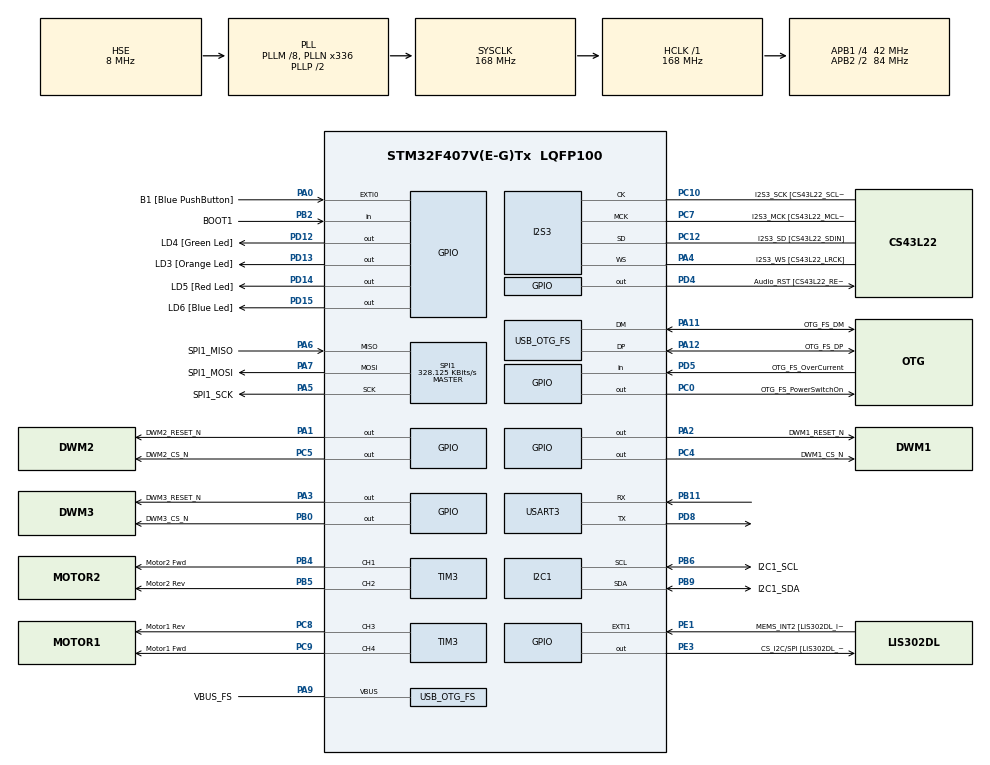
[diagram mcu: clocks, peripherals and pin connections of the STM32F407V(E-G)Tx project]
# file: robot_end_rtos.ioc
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FREERTOS.Tasks01=defaultTask,24,128,StartDefaultTask,Default,NULL,Dynamic,NULL,NULL
FREERTOS.configUSE_NEWLIB_REENTRANT=1
I2S3.AudioFreq-Half_Duplex_Master=I2S_AUDIOFREQ_96K
I2S3.ErrorAudioFreq=-2.34 %
I2S3.ErrorAudioFreq-Half_Duplex_Master=0.8 %
I2S3.FullDuplexMode=I2S_FULLDUPLEXMODE_DISABLE
I2S3.Instance=SPI$Index
I2S3.RealAudioFreq=93.75 KHz
I2S3.RealAudioFreq-Half_Duplex_Master=96.774 KHz
I2S3.VirtualMode=I2S_MODE_MASTER
Mcu.Family=STM32F4
Mcu.Name=STM32F407V(E-G)Tx
Mcu.Package=LQFP100
NVIC.OTG_FS_IRQn=true\:5\:0\:false\:false\:true\:true\:true\:true\:true
NVIC.PriorityGroup=NVIC_PRIORITYGROUP_4
NVIC.TIM1_UP_TIM10_IRQn=true\:15\:0\:false\:false\:true\:false\:false\:true\:true
NVIC.TimeBase=TIM1_UP_TIM10_IRQn
NVIC.TimeBaseIP=TIM1
PA0-WKUP.GPIO_Label=B1 [Blue PushButton]
PA0-WKUP.GPIO_ModeDefaultEXTI=GPIO_MODE_EVT_RISING
PA0-WKUP.GPIO_PuPd=GPIO_NOPULL
PA0-WKUP.Signal=GPXTI0
PA1.GPIO_Label=DWM2_RESET_N
PA1.GPIO_ModeDefaultOutputPP=GPIO_MODE_OUTPUT_OD
PA1.GPIO_PuPd=GPIO_PULLUP
PA1.Signal=GPIO_Output
PA10.GPIO_Label=OTG_FS_ID
PA10.GPIO_Mode=GPIO_MODE_AF_PP
PA10.GPIO_PuPd=GPIO_NOPULL
PA10.GPIO_Speed=GPIO_SPEED_FREQ_LOW
PA10.Signal=USB_OTG_FS_ID
PA11.GPIO_Label=OTG_FS_DM
PA11.GPIO_Mode=GPIO_MODE_AF_PP
PA11.GPIO_PuPd=GPIO_NOPULL
PA11.GPIO_Speed=GPIO_SPEED_FREQ_LOW
PA11.Mode=Host_Only
PA11.Signal=USB_OTG_FS_DM
PA12.GPIO_Label=OTG_FS_DP
PA12.GPIO_Mode=GPIO_MODE_AF_PP
PA12.GPIO_PuPd=GPIO_NOPULL
PA12.GPIO_Speed=GPIO_SPEED_FREQ_LOW
PA12.Mode=Host_Only
PA12.Signal=USB_OTG_FS_DP
PA13.GPIO_Label=SWDIO
PA13.Mode=Serial_Wire
PA13.Signal=SYS_JTMS-SWDIO
PA14.GPIO_Label=SWCLK
PA14.Mode=Serial_Wire
PA14.Signal=SYS_JTCK-SWCLK
PA2.GPIO_Label=DWM1_RESET_N
PA2.GPIO_ModeDefaultOutputPP=GPIO_MODE_OUTPUT_OD
PA2.GPIO_PuPd=GPIO_PULLUP
PA2.Signal=GPIO_Output
PA3.GPIO_Label=DWM3_RESET_N
PA3.GPIO_ModeDefaultOutputPP=GPIO_MODE_OUTPUT_OD
PA3.GPIO_PuPd=GPIO_PULLUP
PA3.Signal=GPIO_Output
PA4.GPIO_Label=I2S3_WS [CS43L22_LRCK]
PA4.GPIO_Mode=GPIO_MODE_AF_PP
PA4.GPIO_PuPd=GPIO_NOPULL
PA4.GPIO_Speed=GPIO_SPEED_FREQ_LOW
PA4.Mode=Half_Duplex_Master
PA4.Signal=I2S3_WS
PA5.GPIO_Label=SPI1_SCK
PA5.GPIO_Mode=GPIO_MODE_AF_PP
PA5.GPIO_PuPd=GPIO_NOPULL
PA5.GPIO_Speed=GPIO_SPEED_FREQ_VERY_HIGH
PA5.Mode=Full_Duplex_Master
PA5.Signal=SPI1_SCK
PA6.GPIO_Label=SPI1_MISO
PA6.GPIO_Mode=GPIO_MODE_AF_PP
PA6.GPIO_PuPd=GPIO_NOPULL
PA6.GPIO_Speed=GPIO_SPEED_FREQ_VERY_HIGH
PA6.Mode=Full_Duplex_Master
PA6.Signal=SPI1_MISO
PA7.GPIO_Label=SPI1_MOSI
PA7.GPIO_Mode=GPIO_MODE_AF_PP
PA7.GPIO_PuPd=GPIO_NOPULL
PA7.GPIO_Speed=GPIO_SPEED_FREQ_VERY_HIGH
PA7.Mode=Full_Duplex_Master
PA7.Signal=SPI1_MOSI
PA9.GPIO_Label=VBUS_FS
PA9.GPIO_Mode=GPIO_MODE_INPUT
PA9.GPIO_PuPd=GPIO_NOPULL
PA9.Mode=Activate_VBUS
PA9.Signal=USB_OTG_FS_VBUS
PB0.GPIO_Label=DWM3_CS_N
PB0.PinState=GPIO_PIN_SET
PB0.Signal=GPIO_Output
PB10.GPIO_Label=CLK_IN [MP45DT02_CLK]
PB10.GPIO_Mode=GPIO_MODE_AF_PP
PB10.GPIO_PuPd=GPIO_NOPULL
PB10.GPIO_Speed=GPIO_SPEED_FREQ_LOW
PB10.Signal=I2S2_CK
PB11.Mode=Asynchronous
PB11.Signal=USART3_RX
PB2.GPIO_Label=BOOT1
PB2.GPIO_Mode=GPIO_MODE_INPUT
PB2.GPIO_PuPd=GPIO_NOPULL
PB2.Signal=GPIO_Input
PB3.GPIO_Label=SWO
PB3.Signal=SYS_JTDO-SWO
PB4.GPIO_Label=Motor2 Fwd
PB4.Signal=S_TIM3_CH1
PB5.GPIO_Label=Motor2 Rev
PB5.Signal=S_TIM3_CH2
PB6.GPIO_Label=I2C1_SCL
PB6.GPIO_Mode=GPIO_MODE_AF_OD
PB6.GPIO_Pu=GPIO_PULLUP
PB6.GPIO_PuPd=GPIO_NOPULL
PB6.GPIO_Speed=GPIO_SPEED_FREQ_LOW
PB6.Mode=I2C
PB6.Signal=I2C1_SCL
PB9.GPIO_Label=I2C1_SDA
PB9.GPIO_Mode=GPIO_MODE_AF_OD
PB9.GPIO_Pu=GPIO_PULLUP
PB9.GPIO_PuPd=GPIO_NOPULL
PB9.GPIO_Speed=GPIO_SPEED_FREQ_LOW
PB9.Mode=I2C
PB9.Signal=I2C1_SDA
PC0.GPIO_Label=OTG_FS_PowerSwitchOn
PC0.GPIO_PuPd=GPIO_NOPULL
PC0.GPIO_Speed=GPIO_SPEED_FREQ_LOW
PC0.PinState=GPIO_PIN_SET
PC0.Signal=GPIO_Output
PC10.GPIO_Label=I2S3_SCK [CS43L22_SCLK]
PC10.GPIO_Mode=GPIO_MODE_AF_PP
PC10.GPIO_PuPd=GPIO_NOPULL
PC10.GPIO_Speed=GPIO_SPEED_FREQ_LOW
PC10.Mode=Half_Duplex_Master
PC10.Signal=I2S3_CK
PC12.GPIO_Label=I2S3_SD [CS43L22_SDIN]
PC12.GPIO_Mode=GPIO_MODE_AF_PP
PC12.GPIO_PuPd=GPIO_NOPULL
PC12.GPIO_Speed=GPIO_SPEED_FREQ_LOW
PC12.Mode=Half_Duplex_Master
PC12.Signal=I2S3_SD
PC14-OSC32_IN.GPIO_Label=PC14-OSC32_IN
PC14-OSC32_IN.Mode=LSE-External-Oscillator
PC14-OSC32_IN.Signal=RCC_OSC32_IN
PC15-OSC32_OUT.GPIO_Label=PC15-OSC32_OUT
PC15-OSC32_OUT.Mode=LSE-External-Oscillator
PC15-OSC32_OUT.Signal=RCC_OSC32_OUT
PC3.GPIO_Label=PDM_OUT [MP45DT02_DOUT]
PC3.GPIO_Mode=GPIO_MODE_AF_PP
PC3.GPIO_PuPd=GPIO_NOPULL
PC3.GPIO_Speed=GPIO_SPEED_FREQ_LOW
PC3.Signal=I2S2_SD
PC4.GPIO_Label=DWM1_CS_N
PC4.PinState=GPIO_PIN_SET
PC4.Signal=GPIO_Output
PC5.GPIO_Label=DWM2_CS_N
PC5.PinState=GPIO_PIN_SET
PC5.Signal=GPIO_Output
PC7.GPIO_Label=I2S3_MCK [CS43L22_MCLK]
PC7.GPIO_Mode=GPIO_MODE_AF_PP
PC7.GPIO_PuPd=GPIO_NOPULL
PC7.GPIO_Speed=GPIO_SPEED_FREQ_LOW
PC7.Mode=Master_Clock_Activated
PC7.Signal=I2S3_MCK
PC8.GPIO_Label=Motor1 Rev
PC8.Signal=S_TIM3_CH3
PC9.GPIO_Label=Motor1 Fwd
PC9.Signal=S_TIM3_CH4
PD12.GPIO_Label=LD4 [Green Led]
PD12.GPIO_PuPd=GPIO_NOPULL
PD12.GPIO_Speed=GPIO_SPEED_FREQ_LOW
PD12.Signal=GPIO_Output
PD13.GPIO_Label=LD3 [Orange Led]
PD13.GPIO_PuPd=GPIO_NOPULL
PD13.GPIO_Speed=GPIO_SPEED_FREQ_LOW
PD13.Signal=GPIO_Output
PD14.GPIO_Label=LD5 [Red Led]
PD14.GPIO_PuPd=GPIO_NOPULL
PD14.GPIO_Speed=GPIO_SPEED_FREQ_LOW
PD14.Signal=GPIO_Output
PD15.GPIO_Label=LD6 [Blue Led]
PD15.GPIO_PuPd=GPIO_NOPULL
PD15.GPIO_Speed=GPIO_SPEED_FREQ_LOW
PD15.Signal=GPIO_Output
PD4.GPIO_Label=Audio_RST [CS43L22_RESET]
PD4.GPIO_PuPd=GPIO_NOPULL
PD4.GPIO_Speed=GPIO_SPEED_FREQ_LOW
PD4.Signal=GPIO_Output
PD5.GPIO_Label=OTG_FS_OverCurrent
PD5.GPIO_Mode=GPIO_MODE_INPUT
PD5.GPIO_PuPd=GPIO_NOPULL
PD5.Signal=GPIO_Input
PD8.Mode=Asynchronous
PD8.Signal=USART3_TX
PE1.GPIO_Label=MEMS_INT2 [LIS302DL_INT2]
PE1.GPIO_ModeDefaultEXTI=GPIO_MODE_EVT_RISING
PE1.GPIO_PuPd=GPIO_NOPULL
PE1.Signal=GPXTI1
PE3.GPIO_Label=CS_I2C/SPI [LIS302DL_CS_I2C/SPI]
PE3.GPIO_PuPd=GPIO_NOPULL
PE3.GPIO_Speed=GPIO_SPEED_FREQ_LOW
PE3.Signal=GPIO_Output
PH0-OSC_IN.GPIO_Label=PH0-OSC_IN
PH0-OSC_IN.Mode=HSE-External-Oscillator
PH0-OSC_IN.Signal=RCC_OSC_IN
PH1-OSC_OUT.GPIO_Label=PH1-OSC_OUT
PH1-OSC_OUT.Mode=HSE-External-Oscillator
PH1-OSC_OUT.Signal=RCC_OSC_OUT
ProjectManager.HeapSize=0x200
ProjectManager.StackSize=0x400
ProjectManager.TargetToolchain=STM32CubeIDE
RCC.48MHZClocksFreq_Value=48000000
RCC.AHBFreq_Value=168000000
RCC.APB1CLKDivider=RCC_HCLK_DIV4
RCC.APB1Freq_Value=42000000
RCC.APB1TimFreq_Value=84000000
RCC.APB2CLKDivider=RCC_HCLK_DIV2
RCC.APB2Freq_Value=84000000
RCC.APB2TimFreq_Value=168000000
RCC.CortexFreq_Value=168000000
RCC.HCLKFreq_Value=168000000
RCC.HSE_VALUE=8000000
RCC.HSI_VALUE=16000000
RCC.PLLM=8
RCC.PLLN=336
RCC.PLLQ=7
RCC.SYSCLKFreq_VALUE=168000000
RCC.SYSCLKSource=RCC_SYSCLKSOURCE_PLLCLK
RCC.VCOOutputFreq_Value=336000000
SH.S_TIM3_CH1.0=TIM3_CH1,PWM Generation1 CH1
SH.S_TIM3_CH2.0=TIM3_CH2,PWM Generation2 CH2
SH.S_TIM3_CH3.0=TIM3_CH3,PWM Generation3 CH3
SH.S_TIM3_CH4.0=TIM3_CH4,PWM Generation4 CH4
SPI1.BaudRatePrescaler=SPI_BAUDRATEPRESCALER_256
SPI1.BaudRatePrescaler-Full_Duplex_Master=SPI_BAUDRATEPRESCALER_2
SPI1.CalculateBaudRate=328.125 KBits/s
SPI1.CalculateBaudRate-Full_Duplex_Master=42.0 MBits/s
SPI1.Direction=SPI_DIRECTION_2LINES
SPI1.Mode=SPI_MODE_MASTER
SPI1.Mode-Full_Duplex_Master=SPI_MODE_MASTER
SPI1.VirtualType=VM_MASTER
TIM3.Channel-PWM\ Generation1\ CH1=TIM_CHANNEL_1
TIM3.Channel-PWM\ Generation2\ CH2=TIM_CHANNEL_2
TIM3.Channel-PWM\ Generation3\ CH3=TIM_CHANNEL_3
TIM3.Channel-PWM\ Generation4\ CH4=TIM_CHANNEL_4
USART3.VirtualMode=VM_ASYNC
USB_HOST.BSP.number=1
USB_HOST.USBH_HandleTypeDef-CDC_FS=hUsbHostFS
USB_HOST.VirtualModeFS=Cdc
USB_HOST0.BSP.STBoard=false
USB_HOST0.BSP.api=Unknown
USB_HOST0.BSP.instance=PC0
USB_HOST0.BSP.ip=GPIO
USB_HOST0.BSP.mode=Output
USB_HOST0.BSP.name=Drive_VBUS_FS
USB_HOST0.BSP.solution=PC0
USB_OTG_FS.VirtualMode=Host_Only
USB_OTG_FS.phy_itface=HCD_PHY_EMBEDDED
VP_FREERTOS_VS_CMSIS_V2.Mode=CMSIS_V2
VP_SYS_VS_tim1.Mode=TIM1
VP_USB_HOST_VS_USB_HOST_CDC_FS.Mode=CDC_FS
board=STM32F407G-DISC1

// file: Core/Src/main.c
/* USER CODE BEGIN Header */
/**
  ******************************************************************************
  * @file           : main.c
  * @brief          : Main program body
  ******************************************************************************
  * @attention
  *
  * Copyright (c) 2026 STMicroelectronics.
  * All rights reserved.
  *
  * This software is licensed under terms that can be found in the LICENSE file
  * in the root directory of this software component.
  * If no LICENSE file comes with this software, it is provided AS-IS.
  *
  ******************************************************************************
  */
/* USER CODE END Header */
#include "main.h"
#include "cmsis_os.h"
#include "usb_host.h"

/* USER CODE BEGIN Includes */
#include "dwm1000.h"
#include "VL53L1X_api.h"
#include "VL53l1X_calibration.h"

/* USER CODE END Includes */

I2C_HandleTypeDef hi2c1;

I2S_HandleTypeDef hi2s3;

SPI_HandleTypeDef hspi1;

TIM_HandleTypeDef htim3;

UART_HandleTypeDef huart3;

/* Definitions for defaultTask */
osThreadId_t defaultTaskHandle;
const osThreadAttr_t defaultTask_attributes = {
  .name = "defaultTask",
  .stack_size = 128 * 4,
  .priority = (osPriority_t) osPriorityNormal,
};
/* USER CODE BEGIN PV */
osThreadId_t tofTaskHandle;
const osThreadAttr_t tofTask_attributes = {
  .name = "tofTask",
  .stack_size = 128 * 4,
  .priority = (osPriority_t) 5,
};

int test_counter = 0;
uint8_t device_id[4] = {0};
uint8_t device_id_low[2] = {0};
int txfrs_error_count = 0;
uint8_t sys_event_status_reg[5] = {0};
uint64_t poll_ts = 0;

uint8_t rx_buffer[4] = {0};
uint8_t payload[4] = {0x1,0x2,0xCC,0xDD};

uint64_t uwb_dist_cm = 0;
uint64_t t_prop = 0;

// TOF Sensor
uint16_t dev = 0x52;   // I2C address (try 0x29 if this fails)
uint8_t sensorState = 0;
uint8_t dataReady = 0;
uint16_t distance = 0;
uint8_t rangeStatus = 0;
int status = 0;
uint64_t dwm_distance = 0;

/* USER CODE END PV */

void SystemClock_Config(void);
static void MX_GPIO_Init(void);
static void MX_I2C1_Init(void);
static void MX_I2S3_Init(void);
static void MX_SPI1_Init(void);
static void MX_USART3_UART_Init(void);
static void MX_TIM3_Init(void);
void StartDefaultTask(void *argument);

/* USER CODE BEGIN PFP */
void TimeOfFlighMeausure(void *argument);

/* USER CODE END PFP */

/* USER CODE BEGIN 0 */

// DWM_MODULE_STRUCTURES
DWM_Module dwm1 = {
    .cs_port = DWM1_CS_N_GPIO_Port,
    .cs_pin  = DWM1_CS_N_Pin,
    .reset_port = DWM1_RESET_N_GPIO_Port,
    .reset_pin  = DWM1_RESET_N_Pin
};

DWM_Module dwm2 = {
    .cs_port = DWM2_CS_N_GPIO_Port,
    .cs_pin  = DWM2_CS_N_Pin,
    .reset_port = DWM2_RESET_N_GPIO_Port,
    .reset_pin  = DWM2_RESET_N_Pin
};

DWM_Module dwm3 = {
    .cs_port = DWM3_CS_N_GPIO_Port,
    .cs_pin  = DWM3_CS_N_Pin,
    .reset_port = DWM3_RESET_N_GPIO_Port,
    .reset_pin  = DWM3_RESET_N_Pin
};

/* USER CODE END 0 */

int main(void)
{

  /* MCU Configuration--------------------------------------------------------*/

  /* Reset of all peripherals, Initializes the Flash interface and the Systick. */
  HAL_Init();

  /* Configure the system clock */
  SystemClock_Config();

  /* Initialize all configured peripherals */
  MX_GPIO_Init();
  MX_I2C1_Init();
  MX_I2S3_Init();
  MX_SPI1_Init();
  MX_USART3_UART_Init();
  MX_TIM3_Init();
  /* USER CODE BEGIN 2 */

  //TOF BEGIN
  // Wait for sensor boot
// while (sensorState == 0)
//  {
//      status = VL53L1X_BootState(dev, &sensorState);
//      HAL_Delay(2);
//  }
//
//  // Initialize sensor
//  status = VL53L1X_SensorInit(dev);
//
//  // Configure ranging
//  status = VL53L1X_SetDistanceMode(dev, 1);      // 1=short, 2=long
//  status = VL53L1X_SetTimingBudgetInMs(dev, 100);
//  status = VL53L1X_SetInterMeasurementInMs(dev, 100);
//
//  status = VL53L1X_StartRanging(dev);

  //TOF END

  /* USER CODE END 2 */

  /* Init scheduler */
  osKernelInitialize();

  /* Create the thread(s) */
  /* creation of defaultTask */
  defaultTaskHandle = osThreadNew(StartDefaultTask, NULL, &defaultTask_attributes);

  /* USER CODE BEGIN RTOS_THREADS */
  /* add threads, ... */
//  tofTaskHandle = osThreadNew(TimeOfFlighMeausure, NULL, &tofTask_attributes);
  /* USER CODE END RTOS_THREADS */

  /* Start scheduler */
  osKernelStart();

  /* We should never get here as control is now taken by the scheduler */

  /* Infinite loop */
  while (1)
  {

  }
}

void SystemClock_Config(void)
{
  RCC_OscInitTypeDef RCC_OscInitStruct = {0};
  RCC_ClkInitTypeDef RCC_ClkInitStruct = {0};

  /** Configure the main internal regulator output voltage
  */
  __HAL_RCC_PWR_CLK_ENABLE();
  __HAL_PWR_VOLTAGESCALING_CONFIG(PWR_REGULATOR_VOLTAGE_SCALE1);

  /** Initializes the RCC Oscillators according to the specified parameters
  * in the RCC_OscInitTypeDef structure.
  */
  RCC_OscInitStruct.OscillatorType = RCC_OSCILLATORTYPE_HSE;
  RCC_OscInitStruct.HSEState = RCC_HSE_ON;
  RCC_OscInitStruct.PLL.PLLState = RCC_PLL_ON;
  RCC_OscInitStruct.PLL.PLLSource = RCC_PLLSOURCE_HSE;
  RCC_OscInitStruct.PLL.PLLM = 8;
  RCC_OscInitStruct.PLL.PLLN = 336;
  RCC_OscInitStruct.PLL.PLLP = RCC_PLLP_DIV2;
  RCC_OscInitStruct.PLL.PLLQ = 7;
  if (HAL_RCC_OscConfig(&RCC_OscInitStruct) != HAL_OK)
  {
    Error_Handler();
  }

  /** Initializes the CPU, AHB and APB buses clocks
  */
  RCC_ClkInitStruct.ClockType = RCC_CLOCKTYPE_HCLK|RCC_CLOCKTYPE_SYSCLK
                              |RCC_CLOCKTYPE_PCLK1|RCC_CLOCKTYPE_PCLK2;
  RCC_ClkInitStruct.SYSCLKSource = RCC_SYSCLKSOURCE_PLLCLK;
  RCC_ClkInitStruct.AHBCLKDivider = RCC_SYSCLK_DIV1;
  RCC_ClkInitStruct.APB1CLKDivider = RCC_HCLK_DIV4;
  RCC_ClkInitStruct.APB2CLKDivider = RCC_HCLK_DIV2;

  if (HAL_RCC_ClockConfig(&RCC_ClkInitStruct, FLASH_LATENCY_5) != HAL_OK)
  {
    Error_Handler();
  }
}

static void MX_I2C1_Init(void)
{

  hi2c1.Instance = I2C1;
  hi2c1.Init.ClockSpeed = 100000;
  hi2c1.Init.DutyCycle = I2C_DUTYCYCLE_2;
  hi2c1.Init.OwnAddress1 = 0;
  hi2c1.Init.AddressingMode = I2C_ADDRESSINGMODE_7BIT;
  hi2c1.Init.DualAddressMode = I2C_DUALADDRESS_DISABLE;
  hi2c1.Init.OwnAddress2 = 0;
  hi2c1.Init.GeneralCallMode = I2C_GENERALCALL_DISABLE;
  hi2c1.Init.NoStretchMode = I2C_NOSTRETCH_DISABLE;
  if (HAL_I2C_Init(&hi2c1) != HAL_OK)
  {
    Error_Handler();
  }

}

static void MX_I2S3_Init(void)
{

  hi2s3.Instance = SPI3;
  hi2s3.Init.Mode = I2S_MODE_MASTER_TX;
  hi2s3.Init.Standard = I2S_STANDARD_PHILIPS;
  hi2s3.Init.DataFormat = I2S_DATAFORMAT_16B;
  hi2s3.Init.MCLKOutput = I2S_MCLKOUTPUT_ENABLE;
  hi2s3.Init.AudioFreq = I2S_AUDIOFREQ_96K;
  hi2s3.Init.CPOL = I2S_CPOL_LOW;
  hi2s3.Init.ClockSource = I2S_CLOCK_PLL;
  hi2s3.Init.FullDuplexMode = I2S_FULLDUPLEXMODE_DISABLE;
  if (HAL_I2S_Init(&hi2s3) != HAL_OK)
  {
    Error_Handler();
  }

}

static void MX_SPI1_Init(void)
{

  /* SPI1 parameter configuration*/
  hspi1.Instance = SPI1;
  hspi1.Init.Mode = SPI_MODE_MASTER;
  hspi1.Init.Direction = SPI_DIRECTION_2LINES;
  hspi1.Init.DataSize = SPI_DATASIZE_8BIT;
  hspi1.Init.CLKPolarity = SPI_POLARITY_LOW;
  hspi1.Init.CLKPhase = SPI_PHASE_1EDGE;
  hspi1.Init.NSS = SPI_NSS_SOFT;
  hspi1.Init.BaudRatePrescaler = SPI_BAUDRATEPRESCALER_256;
  hspi1.Init.FirstBit = SPI_FIRSTBIT_MSB;
  hspi1.Init.TIMode = SPI_TIMODE_DISABLE;
  hspi1.Init.CRCCalculation = SPI_CRCCALCULATION_DISABLE;
  hspi1.Init.CRCPolynomial = 10;
  if (HAL_SPI_Init(&hspi1) != HAL_OK)
  {
    Error_Handler();
  }

}

static void MX_TIM3_Init(void)
{

  TIM_MasterConfigTypeDef sMasterConfig = {0};
  TIM_OC_InitTypeDef sConfigOC = {0};

  htim3.Instance = TIM3;
  htim3.Init.Prescaler = 0;
  htim3.Init.CounterMode = TIM_COUNTERMODE_UP;
  htim3.Init.Period = 65535;
  htim3.Init.ClockDivision = TIM_CLOCKDIVISION_DIV1;
  htim3.Init.AutoReloadPreload = TIM_AUTORELOAD_PRELOAD_DISABLE;
  if (HAL_TIM_PWM_Init(&htim3) != HAL_OK)
  {
    Error_Handler();
  }
  sMasterConfig.MasterOutputTrigger = TIM_TRGO_RESET;
  sMasterConfig.MasterSlaveMode = TIM_MASTERSLAVEMODE_DISABLE;
  if (HAL_TIMEx_MasterConfigSynchronization(&htim3, &sMasterConfig) != HAL_OK)
  {
    Error_Handler();
  }
  sConfigOC.OCMode = TIM_OCMODE_PWM1;
  sConfigOC.Pulse = 0;
  sConfigOC.OCPolarity = TIM_OCPOLARITY_HIGH;
  sConfigOC.OCFastMode = TIM_OCFAST_DISABLE;
  if (HAL_TIM_PWM_ConfigChannel(&htim3, &sConfigOC, TIM_CHANNEL_1) != HAL_OK)
  {
    Error_Handler();
  }
  if (HAL_TIM_PWM_ConfigChannel(&htim3, &sConfigOC, TIM_CHANNEL_2) != HAL_OK)
  {
    Error_Handler();
  }
  if (HAL_TIM_PWM_ConfigChannel(&htim3, &sConfigOC, TIM_CHANNEL_3) != HAL_OK)
  {
    Error_Handler();
  }
  if (HAL_TIM_PWM_ConfigChannel(&htim3, &sConfigOC, TIM_CHANNEL_4) != HAL_OK)
  {
    Error_Handler();
  }
  HAL_TIM_MspPostInit(&htim3);

}

static void MX_USART3_UART_Init(void)
{

  huart3.Instance = USART3;
  huart3.Init.BaudRate = 115200;
  huart3.Init.WordLength = UART_WORDLENGTH_8B;
  huart3.Init.StopBits = UART_STOPBITS_1;
  huart3.Init.Parity = UART_PARITY_NONE;
  huart3.Init.Mode = UART_MODE_TX_RX;
  huart3.Init.HwFlowCtl = UART_HWCONTROL_NONE;
  huart3.Init.OverSampling = UART_OVERSAMPLING_16;
  if (HAL_UART_Init(&huart3) != HAL_OK)
  {
    Error_Handler();
  }

}

static void MX_GPIO_Init(void)
{
  GPIO_InitTypeDef GPIO_InitStruct = {0};

  /* GPIO Ports Clock Enable */
  __HAL_RCC_GPIOE_CLK_ENABLE();
  __HAL_RCC_GPIOC_CLK_ENABLE();
  __HAL_RCC_GPIOH_CLK_ENABLE();
  __HAL_RCC_GPIOA_CLK_ENABLE();
  __HAL_RCC_GPIOB_CLK_ENABLE();
  __HAL_RCC_GPIOD_CLK_ENABLE();

  /*Configure GPIO pin Output Level */
  HAL_GPIO_WritePin(CS_I2C_SPI_GPIO_Port, CS_I2C_SPI_Pin, GPIO_PIN_RESET);

  /*Configure GPIO pin Output Level */
  HAL_GPIO_WritePin(GPIOC, OTG_FS_PowerSwitchOn_Pin|DWM1_CS_N_Pin|DWM2_CS_N_Pin, GPIO_PIN_SET);

  /*Configure GPIO pin Output Level */
  HAL_GPIO_WritePin(GPIOA, DWM2_RESET_N_Pin|DWM1_RESET_N_Pin|DWM3_RESET_N_Pin, GPIO_PIN_RESET);

  /*Configure GPIO pin Output Level */
  HAL_GPIO_WritePin(DWM3_CS_N_GPIO_Port, DWM3_CS_N_Pin, GPIO_PIN_SET);

  /*Configure GPIO pin Output Level */
  HAL_GPIO_WritePin(GPIOD, LD4_Pin|LD3_Pin|LD5_Pin|LD6_Pin
                          |Audio_RST_Pin, GPIO_PIN_RESET);

  /*Configure GPIO pin : CS_I2C_SPI_Pin */
  GPIO_InitStruct.Pin = CS_I2C_SPI_Pin;
  GPIO_InitStruct.Mode = GPIO_MODE_OUTPUT_PP;
  GPIO_InitStruct.Pull = GPIO_NOPULL;
  GPIO_InitStruct.Speed = GPIO_SPEED_FREQ_LOW;
  HAL_GPIO_Init(CS_I2C_SPI_GPIO_Port, &GPIO_InitStruct);

  /*Configure GPIO pins : OTG_FS_PowerSwitchOn_Pin DWM1_CS_N_Pin DWM2_CS_N_Pin */
  GPIO_InitStruct.Pin = OTG_FS_PowerSwitchOn_Pin|DWM1_CS_N_Pin|DWM2_CS_N_Pin;
  GPIO_InitStruct.Mode = GPIO_MODE_OUTPUT_PP;
  GPIO_InitStruct.Pull = GPIO_NOPULL;
  GPIO_InitStruct.Speed = GPIO_SPEED_FREQ_LOW;
  HAL_GPIO_Init(GPIOC, &GPIO_InitStruct);

  /*Configure GPIO pin : PDM_OUT_Pin */
  GPIO_InitStruct.Pin = PDM_OUT_Pin;
  GPIO_InitStruct.Mode = GPIO_MODE_AF_PP;
  GPIO_InitStruct.Pull = GPIO_NOPULL;
  GPIO_InitStruct.Speed = GPIO_SPEED_FREQ_LOW;
  GPIO_InitStruct.Alternate = GPIO_AF5_SPI2;
  HAL_GPIO_Init(PDM_OUT_GPIO_Port, &GPIO_InitStruct);

  /*Configure GPIO pin : B1_Pin */
  GPIO_InitStruct.Pin = B1_Pin;
  GPIO_InitStruct.Mode = GPIO_MODE_EVT_RISING;
  GPIO_InitStruct.Pull = GPIO_NOPULL;
  HAL_GPIO_Init(B1_GPIO_Port, &GPIO_InitStruct);

  /*Configure GPIO pins : DWM2_RESET_N_Pin DWM1_RESET_N_Pin DWM3_RESET_N_Pin */
  GPIO_InitStruct.Pin = DWM2_RESET_N_Pin|DWM1_RESET_N_Pin|DWM3_RESET_N_Pin;
  GPIO_InitStruct.Mode = GPIO_MODE_OUTPUT_OD;
  GPIO_InitStruct.Pull = GPIO_PULLUP;
  GPIO_InitStruct.Speed = GPIO_SPEED_FREQ_LOW;
  HAL_GPIO_Init(GPIOA, &GPIO_InitStruct);

  /*Configure GPIO pin : DWM3_CS_N_Pin */
  GPIO_InitStruct.Pin = DWM3_CS_N_Pin;
  GPIO_InitStruct.Mode = GPIO_MODE_OUTPUT_PP;
  GPIO_InitStruct.Pull = GPIO_NOPULL;
  GPIO_InitStruct.Speed = GPIO_SPEED_FREQ_LOW;
  HAL_GPIO_Init(DWM3_CS_N_GPIO_Port, &GPIO_InitStruct);

  /*Configure GPIO pin : BOOT1_Pin */
  GPIO_InitStruct.Pin = BOOT1_Pin;
  GPIO_InitStruct.Mode = GPIO_MODE_INPUT;
  GPIO_InitStruct.Pull = GPIO_NOPULL;
  HAL_GPIO_Init(BOOT1_GPIO_Port, &GPIO_InitStruct);

  /*Configure GPIO pin : CLK_IN_Pin */
  GPIO_InitStruct.Pin = CLK_IN_Pin;
  GPIO_InitStruct.Mode = GPIO_MODE_AF_PP;
  GPIO_InitStruct.Pull = GPIO_NOPULL;
  GPIO_InitStruct.Speed = GPIO_SPEED_FREQ_LOW;
  GPIO_InitStruct.Alternate = GPIO_AF5_SPI2;
  HAL_GPIO_Init(CLK_IN_GPIO_Port, &GPIO_InitStruct);

  /*Configure GPIO pins : LD4_Pin LD3_Pin LD5_Pin LD6_Pin
                           Audio_RST_Pin */
  GPIO_InitStruct.Pin = LD4_Pin|LD3_Pin|LD5_Pin|LD6_Pin
                          |Audio_RST_Pin;
  GPIO_InitStruct.Mode = GPIO_MODE_OUTPUT_PP;
  GPIO_InitStruct.Pull = GPIO_NOPULL;
  GPIO_InitStruct.Speed = GPIO_SPEED_FREQ_LOW;
  HAL_GPIO_Init(GPIOD, &GPIO_InitStruct);

  /*Configure GPIO pin : OTG_FS_OverCurrent_Pin */
  GPIO_InitStruct.Pin = OTG_FS_OverCurrent_Pin;
  GPIO_InitStruct.Mode = GPIO_MODE_INPUT;
  GPIO_InitStruct.Pull = GPIO_NOPULL;
  HAL_GPIO_Init(OTG_FS_OverCurrent_GPIO_Port, &GPIO_InitStruct);

  /*Configure GPIO pin : MEMS_INT2_Pin */
  GPIO_InitStruct.Pin = MEMS_INT2_Pin;
  GPIO_InitStruct.Mode = GPIO_MODE_EVT_RISING;
  GPIO_InitStruct.Pull = GPIO_NOPULL;
  HAL_GPIO_Init(MEMS_INT2_GPIO_Port, &GPIO_InitStruct);

}

/* USER CODE BEGIN 4 */

extern UART_HandleTypeDef huart2;

int _write(int file, char *ptr, int len)
{
    HAL_UART_Transmit(&huart3, (uint8_t*)ptr, len, HAL_MAX_DELAY);
    return len;
}

void TimeOfFlighMeausure(void *argument) {

	 while (sensorState == 0){
		 status = VL53L1X_BootState(dev, &sensorState);
		 HAL_Delay(2);
	  }

	  // Initialize sensor
	 status = VL53L1X_SensorInit(dev);
	  // Configure ranging
	 status = VL53L1X_SetDistanceMode(dev, 1);      // 1=short, 2=long
	 status = VL53L1X_SetTimingBudgetInMs(dev, 100);
	 status = VL53L1X_SetInterMeasurementInMs(dev, 100);
	 status = VL53L1X_StartRanging(dev);

	for(;;){
		// tof
		while (dataReady == 0) {
			VL53L1X_CheckForDataReady(dev, &dataReady);
			HAL_Delay(1);
		}

		dataReady = 0;

		// Read distance
		VL53L1X_GetDistance(dev, &distance);
		VL53L1X_GetRangeStatus(dev, &rangeStatus);

		// Clear interrupt
		VL53L1X_ClearInterrupt(dev);

	    osDelay(5);

	}
}

/* USER CODE END 4 */

void StartDefaultTask(void *argument)
{
  /* init code for USB_HOST */
  MX_USB_HOST_Init();
  /* USER CODE BEGIN 5 */
  uint8_t device_id[4] = {0};
//  uint8_t sys_event_status_reg[5] = {0};

  uint8_t clear_tx[5] = {0};
  clear_tx[0] = 0xF0;  // only TX bits

  dwm_reset(&dwm1);

  dwm_configure(&dwm1);

  // Stop SPI
  HAL_SPI_DeInit(&hspi1);

  // Change prescaler to fast
  hspi1.Init.BaudRatePrescaler = SPI_BAUDRATEPRESCALER_4;

  // Re-init SPI
  HAL_SPI_Init(&hspi1);

  /* Infinite loop */
  for(;;)
  {

	test_counter++;
	dwm_read_reg(&dwm1, 0x00, device_id, 4);
	dwm_read_reg_sub(&dwm1, 0x40, 0x02, device_id_low, 2);

//	uint8_t payload[4] = {0x1,0x2,0xCC,0xDD}

//	payload[0]++;

//	if(!send_frame(&dwm1,payload,4)){
//		txfrs_error_count++;
//	}

	start_ranging(&dwm1,&uwb_dist_cm,&t_prop);

//	uint8_t rx_buffer[4];
//	dwm_receive(&dwm1, rx_buffer, 4);

//	robot_uwb_task(&dwm1);
    osDelay(100);
  }
  /* USER CODE END 5 */
}

void HAL_TIM_PeriodElapsedCallback(TIM_HandleTypeDef *htim)
{
  if (htim->Instance == TIM1)
  {
    HAL_IncTick();
  }
}

void Error_Handler(void)
{
  __disable_irq();
  while (1)
  {
  }
}
